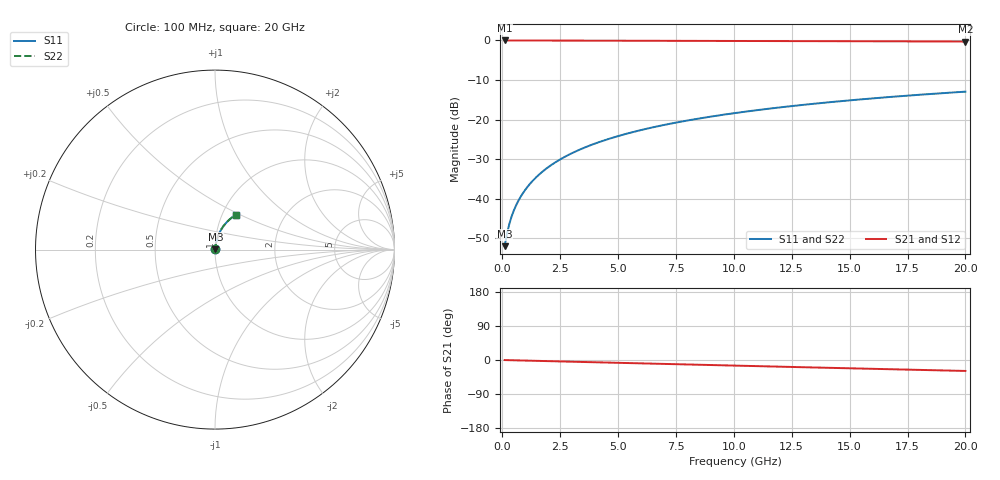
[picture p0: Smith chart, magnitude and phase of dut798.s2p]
! Touchstone file exported from HFSS 2026.1.0
!  File:  C:/ffzhzh/LocalFiles/Ansys_Project_Files/temp_train_BSMRDL_798_1783169664_22436.aedt
!  Generated:  08:55:37 PM Jul  4, 2026
!  Design:  BSMRDL
!  Project:  temp_train_BSMRDL_798_1783169664_22436
! Variables:
!  h_bsmrdl = 3.08um
!  h_ox = 20um
!  h_rdl = 5um
!  h_sub = 80um
!  h_tmrdl = 5um
!  h_tsv = 80um
!  h_via = 3um
!  l_bsmrdl = 426.03um
!  l_sub = 826.03um
!  l_tmrdl = 200um
!  m_sub = 200um
!  pitch = 46.61um
!  r_tsv = 6um
!  s_tmrdl = 10um
!  w_bsmrdl = 27.73um
!  w_sub = 500um
!  w_tmrdl = 12um
!  x_tsv_center1 = 206um
!  x_tsv_center2 = 659.76um
!  x_tsv_center3 = 871.76um
!  x_tsv_center4 = 1325.52um
!  x_tsv_center5 = 1537.52um
!  x_tsv_center6 = 1991.28um
# GHz S MA R 50.000000
! Terminal data exported
! Port[1] = BSM_RDL1_1_T1
! Port[2] = BSM_RDL1_1_T2
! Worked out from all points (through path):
!   200 points, 100 MHz to 20 GHz, reference 50 ohm
!   highest |S21| = -0.02 dB at 100 MHz (marker M1); lowest = -0.3 dB at 20 GHz (marker M2)
!   group delay of S21, straight-line fit = 4.01 ps
!   lowest |S11| = -52.0 dB at 100 MHz (marker M3), VSWR 1.01, Z = 50.2 + j0.146 ohm
!   |S11| at or under -10 dB: start of sweep to end of sweep
!   |S22| runs from -52.0 to -12.9 dB; largest |S21 - S12| = 4.4e-15
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0.1  0.002524 35.2  0.9979 -0.2  0.9979 -0.2  0.002524 35.2
! Gamma 0 0 0 0
! Port Impedance 50 0 50 0
0.2  0.003597 52.2  0.9978 -0.3  0.9978 -0.3  0.003597 52.2
0.3  0.00478 60.3  0.9977 -0.5  0.9977 -0.5  0.00478 60.3
0.4  0.005965 65.0  0.9975 -0.6  0.9975 -0.6  0.005965 65.0
0.5  0.007145 68.3  0.9974 -0.8  0.9974 -0.8  0.007145 68.3
0.6  0.008324 70.6  0.9973 -0.9  0.9973 -0.9  0.008323 70.6
0.8  0.01069 74.0  0.9972 -1.2  0.9972 -1.2  0.01069 74.0
1.1  0.0143 76.9  0.9971 -1.7  0.9971 -1.7  0.0143 76.9
1.3  0.01672 78.1  0.997 -2.0  0.997 -2.0  0.01672 78.1
1.6  0.02039 79.3  0.9969 -2.4  0.9969 -2.4  0.02038 79.3
2.1  0.02652 80.2  0.9966 -3.2  0.9966 -3.2  0.02652 80.2
2.7  0.03389 80.5  0.9962 -4.1  0.9962 -4.1  0.03389 80.5
3.5  0.0437 80.3  0.9956 -5.2  0.9956 -5.2  0.0437 80.3
4.2  0.05224 79.7  0.995 -6.3  0.995 -6.3  0.05224 79.7
5  0.06192 78.9  0.9942 -7.5  0.9942 -7.5  0.06192 78.9
5.9  0.07272 77.9  0.9931 -8.8  0.9931 -8.8  0.07272 77.9
6.8  0.0834 76.7  0.9919 -10.1  0.9919 -10.1  0.0834 76.7
8.3  0.1009 74.8  0.9897 -12.3  0.9897 -12.3  0.1009 74.8
10.1  0.1215 72.3  0.9868 -14.9  0.9868 -14.9  0.1215 72.4
13.4  0.1579 67.9  0.9806 -19.6  0.9806 -19.6  0.1579 67.9
16.7  0.1926 63.4  0.9736 -24.3  0.9736 -24.3  0.1926 63.4
20  0.2253 59.0  0.966 -28.9  0.966 -28.9  0.2253 59.0
